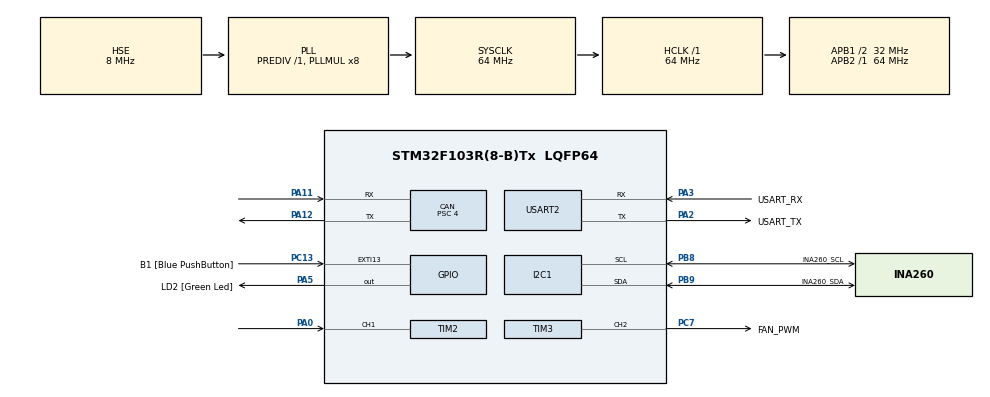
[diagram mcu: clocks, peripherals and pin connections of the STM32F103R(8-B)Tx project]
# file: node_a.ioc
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CAN.BS1=CAN_BS1_13TQ
CAN.BS2=CAN_BS2_2TQ
CAN.AutoBusOff=ENABLE
CAN.AutoRetransmission=ENABLE
CAN.CalculateBaudRate=500000
CAN.CalculateTimeBit=2000
CAN.CalculateTimeQuantum=125.0
CAN.Prescaler=4
FREERTOS.Queues01=qA_CanRx,4,AppCanRxFrame_t,0,Dynamic,NULL,NULL;mbA_CommandState,1,ACommandState_t,0,Dynamic,NULL,NULL;mbA_StatusSnapshot,1,AStatusSnapshot_t,0,Dynamic,NULL,NULL
FREERTOS.Tasks01=A_ControlTask,40,512,StartAControlTask,Default,NULL,Dynamic,NULL,NULL;A_ComRxTask,32,256,StartAComRxTask,Default,NULL,Dynamic,NULL,NULL;A_Cyclic100msTask,8,256,StartACyclic100msTask,Default,NULL,Dynamic,NULL,NULL
FREERTOS.configCHECK_FOR_STACK_OVERFLOW=2
FREERTOS.configMAX_TASK_NAME_LEN=32
FREERTOS.configTOTAL_HEAP_SIZE=8192
FREERTOS.configUSE_MALLOC_FAILED_HOOK=1
Mcu.Family=STM32F1
Mcu.Name=STM32F103R(8-B)Tx
Mcu.Package=LQFP64
NVIC.EXTI15_10_IRQn=true\:7\:0\:true\:false\:true\:true\:true\:true\:true
NVIC.PriorityGroup=NVIC_PRIORITYGROUP_4
NVIC.TIM2_IRQn=true\:6\:0\:true\:false\:true\:true\:true\:true\:true
NVIC.TIM4_IRQn=true\:15\:0\:false\:false\:true\:false\:false\:true\:true
NVIC.TimeBase=TIM4_IRQn
NVIC.TimeBaseIP=TIM4
NVIC.USB_LP_CAN1_RX0_IRQn=true\:5\:0\:true\:false\:true\:true\:true\:true\:true
PA0-WKUP.Signal=S_TIM2_CH1_ETR
PA11.Mode=CAN_Activate
PA11.Signal=CAN_RX
PA12.Mode=CAN_Activate
PA12.Signal=CAN_TX
PA13.GPIO_Label=TMS
PA13.Mode=Serial_Wire
PA13.Signal=SYS_JTMS-SWDIO
PA14.GPIO_Label=TCK
PA14.Mode=Serial_Wire
PA14.Signal=SYS_JTCK-SWCLK
PA2.GPIO_Label=USART_TX
PA2.GPIO_Mode=GPIO_MODE_AF_PP
PA2.GPIO_PuPd=GPIO_NOPULL
PA2.GPIO_Speed=GPIO_SPEED_FREQ_LOW
PA2.Mode=Asynchronous
PA2.Signal=USART2_TX
PA3.GPIO_Label=USART_RX
PA3.GPIO_Mode=GPIO_MODE_INPUT
PA3.GPIO_PuPd=GPIO_NOPULL
PA3.GPIO_Speed=GPIO_SPEED_FREQ_LOW
PA3.Mode=Asynchronous
PA3.Signal=USART2_RX
PA5.GPIO_Label=LD2 [Green Led]
PA5.GPIO_ModeDefaultOutputPP=GPIO_MODE_OUTPUT_PP
PA5.GPIO_PuPd=GPIO_NOPULL
PA5.GPIO_Speed=GPIO_SPEED_FREQ_LOW
PA5.Signal=GPIO_Output
PB3.GPIO_Label=SWO
PB3.Signal=SYS_JTDO-TRACESWO
PB8.GPIO_Label=INA260_SCL
PB8.Mode=I2C
PB8.Signal=I2C1_SCL
PB9.GPIO_Label=INA260_SDA
PB9.Mode=I2C
PB9.Signal=I2C1_SDA
PC13-TAMPER-RTC.GPIO_Label=B1 [Blue PushButton]
PC13-TAMPER-RTC.GPIO_ModeDefaultEXTI=GPIO_MODE_IT_FALLING
PC13-TAMPER-RTC.GPIO_PuPd=GPIO_NOPULL
PC13-TAMPER-RTC.Signal=GPXTI13
PC14-OSC32_IN.Signal=RCC_OSC32_IN
PC15-OSC32_OUT.Signal=RCC_OSC32_OUT
PC7.GPIO_Label=FAN_PWM
PC7.GPIO_ModeDefaultPP=GPIO_MODE_AF_OD
PC7.Signal=S_TIM3_CH2
PD0-OSC_IN.Mode=HSE-External-Clock-Source
PD0-OSC_IN.Signal=RCC_OSC_IN
PD1-OSC_OUT.Signal=RCC_OSC_OUT
ProjectManager.HeapSize=0x200
ProjectManager.StackSize=0x400
ProjectManager.TargetToolchain=STM32CubeIDE
RCC.AHBFreq_Value=64000000
RCC.APB1CLKDivider=RCC_HCLK_DIV2
RCC.APB1Freq_Value=32000000
RCC.APB1TimFreq_Value=64000000
RCC.APB2Freq_Value=64000000
RCC.APB2TimFreq_Value=64000000
RCC.HCLKFreq_Value=64000000
RCC.HSE_VALUE=8000000
RCC.PLLMUL=RCC_PLL_MUL8
RCC.PLLSourceVirtual=RCC_PLLSOURCE_HSE
RCC.SYSCLKFreq_VALUE=64000000
RCC.SYSCLKSource=RCC_SYSCLKSOURCE_PLLCLK
RCC.USBFreq_Value=64000000
SH.S_TIM2_CH1_ETR.0=TIM2_CH1,Input_Capture1_from_TI1
SH.S_TIM3_CH2.0=TIM3_CH2,PWM Generation2 CH2
TIM2.Channel-Input_Capture1_from_TI1=TIM_CHANNEL_1
TIM2.ICPolarity_CH1=TIM_INPUTCHANNELPOLARITY_FALLING
TIM2.ClockDivision=TIM_CLOCKDIVISION_DIV4
TIM2.Prescaler=639
TIM3.Channel-PWM\ Generation2\ CH2=TIM_CHANNEL_2
TIM3.Period=2559
USART2.VirtualMode=VM_ASYNC
VP_FREERTOS_VS_CMSIS_V2.Mode=CMSIS_V2
VP_SYS_VS_tim4.Mode=TIM4
VP_TIM2_VS_ClockSourceINT.Mode=Internal
VP_TIM3_VS_ClockSourceINT.Mode=Internal
board=NUCLEO-F103RB

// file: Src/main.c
/* USER CODE BEGIN Header */
/**
  ******************************************************************************
  * @file           : main.c
  * @brief          : Main program body
  ******************************************************************************
  * @attention
  *
  * Copyright (c) 2026 STMicroelectronics.
  * All rights reserved.
  *
  * This software is licensed under terms that can be found in the LICENSE file
  * in the root directory of this software component.
  * If no LICENSE file comes with this software, it is provided AS-IS.
  *
  ******************************************************************************
  */
/* USER CODE END Header */
#include "main.h"
#include "cmsis_os.h"
#include "can.h"
#include "i2c.h"
#include "tim.h"
#include "usart.h"
#include "gpio.h"

void SystemClock_Config(void);
void MX_FREERTOS_Init(void);

int main(void)
{

  /* MCU Configuration--------------------------------------------------------*/

  /* Reset of all peripherals, Initializes the Flash interface and the Systick. */
  HAL_Init();

  /* Configure the system clock */
  SystemClock_Config();

  /* Initialize all configured peripherals */
  MX_GPIO_Init();
  MX_CAN_Init();
  MX_I2C1_Init();
  MX_TIM2_Init();
  MX_TIM3_Init();
  MX_USART2_UART_Init();
  /* USER CODE BEGIN 2 */

  __HAL_TIM_SET_COMPARE(&htim3,
                        TIM_CHANNEL_2,
                        H3_FAN_PWM_COMPARE_50_PERCENT);
  if (HAL_TIM_PWM_Start(&htim3, TIM_CHANNEL_2) != HAL_OK)
  {
    Error_Handler();
  }
  if (HAL_TIM_IC_Start_IT(&htim2, TIM_CHANNEL_1) != HAL_OK)
  {
    Error_Handler();
  }

  /* USER CODE END 2 */

  /* Init scheduler */
  osKernelInitialize();  /* Call init function for freertos objects (in cmsis_os2.c) */
  MX_FREERTOS_Init();

  /* Start scheduler */
  osKernelStart();

  /* We should never get here as control is now taken by the scheduler */

  /* Infinite loop */
  while (1)
  {

  }
}

void SystemClock_Config(void)
{
  RCC_OscInitTypeDef RCC_OscInitStruct = {0};
  RCC_ClkInitTypeDef RCC_ClkInitStruct = {0};

  /** Initializes the RCC Oscillators according to the specified parameters
  * in the RCC_OscInitTypeDef structure.
  */
  RCC_OscInitStruct.OscillatorType = RCC_OSCILLATORTYPE_HSE;
  RCC_OscInitStruct.HSEState = RCC_HSE_BYPASS;
  RCC_OscInitStruct.HSEPredivValue = RCC_HSE_PREDIV_DIV1;
  RCC_OscInitStruct.PLL.PLLState = RCC_PLL_ON;
  RCC_OscInitStruct.PLL.PLLSource = RCC_PLLSOURCE_HSE;
  RCC_OscInitStruct.PLL.PLLMUL = RCC_PLL_MUL8;
  if (HAL_RCC_OscConfig(&RCC_OscInitStruct) != HAL_OK)
  {
    Error_Handler();
  }

  /** Initializes the CPU, AHB and APB buses clocks
  */
  RCC_ClkInitStruct.ClockType = RCC_CLOCKTYPE_HCLK|RCC_CLOCKTYPE_SYSCLK
                              |RCC_CLOCKTYPE_PCLK1|RCC_CLOCKTYPE_PCLK2;
  RCC_ClkInitStruct.SYSCLKSource = RCC_SYSCLKSOURCE_PLLCLK;
  RCC_ClkInitStruct.AHBCLKDivider = RCC_SYSCLK_DIV1;
  RCC_ClkInitStruct.APB1CLKDivider = RCC_HCLK_DIV2;
  RCC_ClkInitStruct.APB2CLKDivider = RCC_HCLK_DIV1;

  if (HAL_RCC_ClockConfig(&RCC_ClkInitStruct, FLASH_LATENCY_2) != HAL_OK)
  {
    Error_Handler();
  }
}

void HAL_TIM_PeriodElapsedCallback(TIM_HandleTypeDef *htim)
{
  if (htim->Instance == TIM4)
  {
    HAL_IncTick();
  }
}

void Error_Handler(void)
{
  __disable_irq();
  while (1)
  {
  }
}

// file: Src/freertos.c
/* USER CODE BEGIN Header */
/**
  ******************************************************************************
  * File Name          : freertos.c
  * Description        : Code for freertos applications
  ******************************************************************************
  * @attention
  *
  * Copyright (c) 2026 STMicroelectronics.
  * All rights reserved.
  *
  * This software is licensed under terms that can be found in the LICENSE file
  * in the root directory of this software component.
  * If no LICENSE file comes with this software, it is provided AS-IS.
  *
  ******************************************************************************
  */
/* USER CODE END Header */

#include "FreeRTOS.h"
#include "task.h"
#include "main.h"
#include "cmsis_os.h"

/* USER CODE BEGIN Includes */
#include "app_ipc.h"
#include "can.h"
#include "i2c.h"
#include "tim.h"
#include "usart.h"

#include <stdio.h>
#include <string.h>

/* USER CODE END Includes */

/* USER CODE BEGIN PTD */

typedef struct
{
  uint8_t duty_percent;
  uint16_t compare;
} H3_FanPwmStep_t;

typedef struct
{
  uint32_t edge_total;
  uint32_t sample_total;
  uint32_t zero_delta_total;
  uint32_t window_samples;
  uint32_t last_edge_tick_ms;
  uint16_t last_period_ticks;
  uint16_t window_min_ticks;
  uint16_t window_max_ticks;
  uint8_t capture_seen;
} H3_TachSnapshot_t;

/* USER CODE END PTD */

/* USER CODE BEGIN PD */

#define H2_CAN_BITRATE_BPS       500000U
#define H2_CAN_TX_STD_ID         0x180U
#define H2_CAN_RX_STD_ID         0x100U
#define H2_CAN_PERIOD_MS         100U
#define H2_CAN_STARTUP_DELAY_MS  10000U
#define H2_CAN_TX_DLC            5U
#define H2_CAN_RX_DLC            2U
#define H2_CAN_RX_COUNTER_INDEX  1U

#define H3_INA260_I2C_ADDRESS           0x40U
#define H3_INA260_SCAN_FIRST_ADDRESS    0x08U
#define H3_INA260_SCAN_LAST_ADDRESS     0x77U
#define H3_INA260_REG_CONFIG            0x00U
#define H3_INA260_REG_CURRENT           0x01U
#define H3_INA260_REG_BUS_VOLTAGE       0x02U
#define H3_INA260_REG_POWER             0x03U
#define H3_INA260_REG_MANUFACTURER_ID   0xFEU
#define H3_INA260_REG_DIE_ID            0xFFU
#define H3_INA260_EXPECTED_MFG_ID       0x5449U
#define H3_INA260_EXPECTED_DIE_ID       0x2270U
#define H3_INA260_DIE_ID_MASK           0xFFF0U
#define H3_INA260_CURRENT_LSB_UA        1250L
#define H3_INA260_BUS_VOLTAGE_LSB_UV    1250UL
#define H3_INA260_POWER_LSB_UW          10000UL
#define H3_INA260_I2C_TIMEOUT_MS        20U

/* USER CODE END PD */

/* USER CODE BEGIN Variables */

static volatile uint8_t g_h2_can_ready;
static volatile uint8_t g_h2_can_start_result;
static volatile uint32_t g_h2_tx_attempts;
static volatile uint32_t g_h2_tx_queued;
static volatile uint32_t g_h2_tx_failures;
static volatile uint32_t g_h2_rx_irq_count;
static volatile uint32_t g_h2_rx_queue_drops;
static volatile uint32_t g_h2_rx_valid;
static volatile uint32_t g_h2_rx_invalid;
static volatile uint32_t g_h2_rx_sequence_errors;
static volatile uint8_t g_h2_rx_seen;
static volatile uint8_t g_h2_last_rx_counter;
static volatile uint8_t g_h3_fan_profile_request;
static volatile uint32_t g_h3_tach_edge_count;
static volatile uint32_t g_h3_tach_period_sample_count;
static volatile uint32_t g_h3_tach_zero_delta_count;
static volatile uint32_t g_h3_tach_window_sample_count;
static volatile uint32_t g_h3_tach_last_edge_tick_ms;
static volatile uint16_t g_h3_tach_last_capture;
static volatile uint16_t g_h3_tach_last_period_ticks;
static volatile uint16_t g_h3_tach_window_min_ticks = UINT16_MAX;
static volatile uint16_t g_h3_tach_window_max_ticks;
static volatile uint8_t g_h3_tach_capture_seen;
static uint32_t g_h3_ina260_sample_count;
static uint8_t g_h3_ina260_identity_valid;

static const H3_FanPwmStep_t g_h3_fan_pwm_profile[] =
{
  {100U, H3_FAN_PWM_COMPARE_100_PERCENT},
  { 50U, H3_FAN_PWM_COMPARE_50_PERCENT},
  { 25U, H3_FAN_PWM_COMPARE_25_PERCENT},
  {  0U, H3_FAN_PWM_COMPARE_0_PERCENT},
  {100U, H3_FAN_PWM_COMPARE_100_PERCENT}
};

/* USER CODE END Variables */
/* Definitions for A_ControlTask */
osThreadId_t A_ControlTaskHandle;
const osThreadAttr_t A_ControlTask_attributes = {
  .name = "A_ControlTask",
  .stack_size = 512 * 4,
  .priority = (osPriority_t) osPriorityHigh,
};
/* Definitions for A_ComRxTask */
osThreadId_t A_ComRxTaskHandle;
const osThreadAttr_t A_ComRxTask_attributes = {
  .name = "A_ComRxTask",
  .stack_size = 256 * 4,
  .priority = (osPriority_t) osPriorityAboveNormal,
};
/* Definitions for A_Cyclic100msTask */
osThreadId_t A_Cyclic100msTaskHandle;
const osThreadAttr_t A_Cyclic100msTask_attributes = {
  .name = "A_Cyclic100msTask",
  .stack_size = 256 * 4,
  .priority = (osPriority_t) osPriorityLow,
};
/* Definitions for qA_CanRx */
osMessageQueueId_t qA_CanRxHandle;
const osMessageQueueAttr_t qA_CanRx_attributes = {
  .name = "qA_CanRx"
};
/* Definitions for mbA_CommandState */
osMessageQueueId_t mbA_CommandStateHandle;
const osMessageQueueAttr_t mbA_CommandState_attributes = {
  .name = "mbA_CommandState"
};
/* Definitions for mbA_StatusSnapshot */
osMessageQueueId_t mbA_StatusSnapshotHandle;
const osMessageQueueAttr_t mbA_StatusSnapshot_attributes = {
  .name = "mbA_StatusSnapshot"
};

/* USER CODE BEGIN FunctionPrototypes */

static uint8_t H2_CanStart(void);
static void H2_UartWrite(const char *text);
static void H2_LogBoot(uint8_t start_result);
static void H2_LogStatus(void);
static void H3_LogFanPwmProfile(void);
static void H3_ApplyFanPwmStep(uint8_t profile_index);
static void H3_LogFanPwmProfileDone(void);
static void H3_LogTachCaptureProfile(void);
static void H3_LogTachRaw(void);
static HAL_StatusTypeDef H3_Ina260ReadRegister(uint8_t register_address,
                                               uint16_t *value);
static void H3_LogIna260MasterState(const char *phase,
                                    HAL_StatusTypeDef reinit_status);
static void H3_Ina260ScanAndIdentify(void);
static void H3_Ina260ScopeProbe(void);
static void H3_LogIna260Sample(void);
static void H2_SendFrame(uint8_t counter);
static uint8_t H2_IsValidPeerFrame(const AppCanRxFrame_t *frame);
static uint8_t H2_GetPeerCounter(const AppCanRxFrame_t *frame);

/* USER CODE END FunctionPrototypes */

void StartAControlTask(void *argument);
void StartAComRxTask(void *argument);
void StartACyclic100msTask(void *argument);

void MX_FREERTOS_Init(void); /* (MISRA C 2004 rule 8.1) */

/* Hook prototypes */
void vApplicationStackOverflowHook(xTaskHandle xTask, signed char *pcTaskName);
void vApplicationMallocFailedHook(void);

/* USER CODE BEGIN 4 */
static uint8_t H2_CanStart(void)
{
  CAN_FilterTypeDef filter = {0};

  filter.FilterBank = 0;
  filter.FilterMode = CAN_FILTERMODE_IDMASK;
  filter.FilterScale = CAN_FILTERSCALE_32BIT;
  filter.FilterIdHigh = 0;
  filter.FilterIdLow = 0;
  filter.FilterMaskIdHigh = 0;
  filter.FilterMaskIdLow = 0;
  filter.FilterFIFOAssignment = CAN_RX_FIFO0;
  filter.FilterActivation = ENABLE;
  filter.SlaveStartFilterBank = 14;

  if (HAL_CAN_ConfigFilter(&hcan, &filter) != HAL_OK)
  {
    return 1U;
  }
  if (HAL_CAN_Start(&hcan) != HAL_OK)
  {
    return 2U;
  }
  if (HAL_CAN_ActivateNotification(&hcan,
                                   CAN_IT_RX_FIFO0_MSG_PENDING |
                                   CAN_IT_RX_FIFO0_OVERRUN) != HAL_OK)
  {
    return 3U;
  }

  return 0U;
}

static void H2_UartWrite(const char *text)
{
  size_t length;

  if (text == NULL)
  {
    return;
  }

  length = strlen(text);
  if (length > UINT16_MAX)
  {
    length = UINT16_MAX;
  }
  (void)HAL_UART_Transmit(&huart2, (uint8_t *)text, (uint16_t)length, 100U);
}

static void H2_LogBoot(uint8_t start_result)
{
  char line[192];
  int length;

  if (start_result == 0U)
  {
    length = snprintf(line, sizeof(line),
                      "H2,A,BOOT,profile=formal_baseline,bitrate=%lu,tx_id=0x%03lX,tx_dlc=%u,rx_id=0x%03lX,rx_dlc=%u,period_ms=%lu,start_delay_ms=%lu\r\n",
                      (unsigned long)H2_CAN_BITRATE_BPS,
                      (unsigned long)H2_CAN_TX_STD_ID,
                      (unsigned int)H2_CAN_TX_DLC,
                      (unsigned long)H2_CAN_RX_STD_ID,
                      (unsigned int)H2_CAN_RX_DLC,
                      (unsigned long)H2_CAN_PERIOD_MS,
                      (unsigned long)H2_CAN_STARTUP_DELAY_MS);
  }
  else
  {
    length = snprintf(line, sizeof(line),
                      "H2,A,BOOT_FAIL,start_result=%u,hal_error=0x%08lX\r\n",
                      (unsigned int)start_result,
                      (unsigned long)HAL_CAN_GetError(&hcan));
  }

  if (length > 0)
  {
    line[sizeof(line) - 1U] = '\0';
    H2_UartWrite(line);
  }
}

static void H2_LogStatus(void)
{
  char line[256];
  int length;

  length = snprintf(line, sizeof(line),
                    "H2,A,STAT,tick=%lu,tx_try=%lu,tx_q=%lu,tx_fail=%lu,rx_irq=%lu,rx=%lu,rx_bad=%lu,seq_err=%lu,q_drop=%lu,seen=%u,last=%u,mb_free=%lu,hal_err=0x%08lX,esr=0x%08lX\r\n",
                    (unsigned long)HAL_GetTick(),
                    (unsigned long)g_h2_tx_attempts,
                    (unsigned long)g_h2_tx_queued,
                    (unsigned long)g_h2_tx_failures,
                    (unsigned long)g_h2_rx_irq_count,
                    (unsigned long)g_h2_rx_valid,
                    (unsigned long)g_h2_rx_invalid,
                    (unsigned long)g_h2_rx_sequence_errors,
                    (unsigned long)g_h2_rx_queue_drops,
                    (unsigned int)g_h2_rx_seen,
                    (unsigned int)g_h2_last_rx_counter,
                    (unsigned long)HAL_CAN_GetTxMailboxesFreeLevel(&hcan),
                    (unsigned long)HAL_CAN_GetError(&hcan),
                    (unsigned long)hcan.Instance->ESR);

  if (length > 0)
  {
    line[sizeof(line) - 1U] = '\0';
    H2_UartWrite(line);
  }
}

static void H3_LogFanPwmProfile(void)
{
  char line[224];
  int length;

  length = snprintf(line, sizeof(line),
                    "H3,A,FAN_PWM_PROFILE,pin=PC7,timer=TIM3_CH2,freq_hz=%lu,idle_pct=%u,sequence=100-50-25-0-100,hold_ms=%lu,trigger=B1,mode=af_od\r\n",
                    (unsigned long)H3_FAN_PWM_FREQUENCY_HZ,
                    (unsigned int)H3_FAN_PWM_IDLE_DUTY_PERCENT,
                    (unsigned long)H3_FAN_PWM_PROFILE_HOLD_MS);

  if (length > 0)
  {
    line[sizeof(line) - 1U] = '\0';
    H2_UartWrite(line);
  }
}

static void H3_ApplyFanPwmStep(uint8_t profile_index)
{
  char line[160];
  int length;
  const uint8_t profile_step_count =
      (uint8_t)(sizeof(g_h3_fan_pwm_profile) / sizeof(g_h3_fan_pwm_profile[0]));

  if (profile_index >= profile_step_count)
  {
    return;
  }

  __HAL_TIM_SET_COMPARE(&htim3,
                        TIM_CHANNEL_2,
                        g_h3_fan_pwm_profile[profile_index].compare);
  length = snprintf(line, sizeof(line),
                    "H3,A,FAN_PWM_STEP,index=%u,total=%u,duty_pct=%u,compare=%u,hold_ms=%lu\r\n",
                    (unsigned int)(profile_index + 1U),
                    (unsigned int)profile_step_count,
                    (unsigned int)g_h3_fan_pwm_profile[profile_index].duty_percent,
                    (unsigned int)g_h3_fan_pwm_profile[profile_index].compare,
                    (unsigned long)H3_FAN_PWM_PROFILE_HOLD_MS);

  if (length > 0)
  {
    line[sizeof(line) - 1U] = '\0';
    H2_UartWrite(line);
  }
}

static void H3_LogFanPwmProfileDone(void)
{
  char line[96];
  int length;

  length = snprintf(line, sizeof(line),
                    "H3,A,FAN_PWM_PROFILE_DONE,final_pct=%u\r\n",
                    (unsigned int)H3_FAN_PWM_IDLE_DUTY_PERCENT);
  if (length > 0)
  {
    line[sizeof(line) - 1U] = '\0';
    H2_UartWrite(line);
  }
}

static void H3_LogTachCaptureProfile(void)
{
  char line[256];
  int length;

  length = snprintf(line, sizeof(line),
                    "H3,A,TACH_CAPTURE_PROFILE,pin=PA0,timer=TIM2_CH1,edge=falling,timer_hz=%lu,tick_us=%lu,ic_filter=%u,ckd_div=%u,rc=10k_series_10nF_gnd,ppr=%u,rpm=enabled,stale_ms=%lu\r\n",
                    (unsigned long)H3_TACH_TIMER_FREQUENCY_HZ,
                    (unsigned long)H3_TACH_TIMER_TICK_US,
                    (unsigned int)H3_TACH_INPUT_FILTER,
                    (unsigned int)H3_TACH_CLOCK_DIVISION_VALUE,
                    (unsigned int)H3_TACH_PULSES_PER_REVOLUTION,
                    (unsigned long)H3_TACH_STALE_TIMEOUT_MS);

  if (length > 0)
  {
    line[sizeof(line) - 1U] = '\0';
    H2_UartWrite(line);
  }
}

static void H3_LogTachRaw(void)
{
  H3_TachSnapshot_t snapshot;
  uint32_t now;
  uint32_t age_ms;
  uint32_t period_us;
  uint32_t frequency_millihz;
  uint32_t rpm;
  uint32_t rpm_denominator;
  uint32_t rpm_numerator;
  uint8_t rpm_valid;
  const char *state;
  char rpm_text[16];
  char line[352];
  int length;

  taskENTER_CRITICAL();
  snapshot.edge_total = g_h3_tach_edge_count;
  snapshot.sample_total = g_h3_tach_period_sample_count;
  snapshot.zero_delta_total = g_h3_tach_zero_delta_count;
  snapshot.window_samples = g_h3_tach_window_sample_count;
  snapshot.last_edge_tick_ms = g_h3_tach_last_edge_tick_ms;
  snapshot.last_period_ticks = g_h3_tach_last_period_ticks;
  snapshot.window_min_ticks = (g_h3_tach_window_sample_count != 0U) ?
                              g_h3_tach_window_min_ticks : 0U;
  snapshot.window_max_ticks = (g_h3_tach_window_sample_count != 0U) ?
                              g_h3_tach_window_max_ticks : 0U;
  snapshot.capture_seen = g_h3_tach_capture_seen;
  g_h3_tach_window_sample_count = 0U;
  g_h3_tach_window_min_ticks = UINT16_MAX;
  g_h3_tach_window_max_ticks = 0U;
  taskEXIT_CRITICAL();

  now = HAL_GetTick();
  if (snapshot.capture_seen == 0U)
  {
    state = "WAIT_FIRST_EDGE";
    age_ms = UINT32_MAX;
  }
  else if (snapshot.sample_total == 0U)
  {
    state = "WAIT_SECOND_EDGE";
    age_ms = now - snapshot.last_edge_tick_ms;
  }
  else
  {
    age_ms = now - snapshot.last_edge_tick_ms;
    state = (age_ms > H3_TACH_STALE_TIMEOUT_MS) ?
            "STALE" : "PERIOD_VALID";
  }

  period_us = (uint32_t)snapshot.last_period_ticks * H3_TACH_TIMER_TICK_US;
  frequency_millihz = (snapshot.last_period_ticks != 0U) ?
      ((H3_TACH_TIMER_FREQUENCY_HZ * 1000U) /
       (uint32_t)snapshot.last_period_ticks) : 0U;
  rpm_valid = ((snapshot.sample_total != 0U) &&
               (snapshot.last_period_ticks != 0U) &&
               (age_ms <= H3_TACH_STALE_TIMEOUT_MS)) ? 1U : 0U;
  if (rpm_valid != 0U)
  {
    rpm_denominator = (uint32_t)H3_TACH_PULSES_PER_REVOLUTION *
                      (uint32_t)snapshot.last_period_ticks;
    rpm_numerator = H3_TACH_TIMER_FREQUENCY_HZ * 60U;
    rpm = (rpm_numerator + (rpm_denominator / 2U)) / rpm_denominator;
    (void)snprintf(rpm_text, sizeof(rpm_text), "%lu", (unsigned long)rpm);
  }
  else
  {
    (void)snprintf(rpm_text, sizeof(rpm_text), "INVALID");
  }

  length = snprintf(line, sizeof(line),
                    "H3,A,TACH_RAW,tick=%lu,state=%s,edge_total=%lu,sample_total=%lu,window_samples=%lu,last_ticks=%u,last_us=%lu,freq_mHz=%lu,window_min_ticks=%u,window_max_ticks=%u,zero_delta=%lu,age_ms=%lu,ppr=%u,rpm=%s,rpm_valid=%u\r\n",
                    (unsigned long)now,
                    state,
                    (unsigned long)snapshot.edge_total,
                    (unsigned long)snapshot.sample_total,
                    (unsigned long)snapshot.window_samples,
                    (unsigned int)snapshot.last_period_ticks,
                    (unsigned long)period_us,
                    (unsigned long)frequency_millihz,
                    (unsigned int)snapshot.window_min_ticks,
                    (unsigned int)snapshot.window_max_ticks,
                    (unsigned long)snapshot.zero_delta_total,
                    (unsigned long)age_ms,
                    (unsigned int)H3_TACH_PULSES_PER_REVOLUTION,
                    rpm_text,
                    (unsigned int)rpm_valid);

  if (length > 0)
  {
    line[sizeof(line) - 1U] = '\0';
    H2_UartWrite(line);
  }
}

static HAL_StatusTypeDef H3_Ina260ReadRegister(uint8_t register_address,
                                               uint16_t *value)
{
  uint8_t data[2] = {0U, 0U};
  HAL_StatusTypeDef status;

  if (value == NULL)
  {
    return HAL_ERROR;
  }

  status = HAL_I2C_Mem_Read(&hi2c1,
                            (uint16_t)(H3_INA260_I2C_ADDRESS << 1U),
                            register_address,
                            I2C_MEMADD_SIZE_8BIT,
                            data,
                            sizeof(data),
                            H3_INA260_I2C_TIMEOUT_MS);
  if (status == HAL_OK)
  {
    *value = (uint16_t)(((uint16_t)data[0] << 8U) | (uint16_t)data[1]);
  }

  return status;
}

static void H3_LogIna260MasterState(const char *phase,
                                    HAL_StatusTypeDef reinit_status)
{
  char line[224];
  int length;

  length = snprintf(line, sizeof(line),
                    "H3,A,INA260_MASTER,phase=%s,reinit_status=%u,state=0x%02lX,hal_err=0x%08lX,cr1=0x%04lX,sr1=0x%04lX,sr2=0x%04lX,gpiob_idr=0x%04lX\r\n",
                    phase,
                    (unsigned int)reinit_status,
                    (unsigned long)HAL_I2C_GetState(&hi2c1),
                    (unsigned long)HAL_I2C_GetError(&hi2c1),
                    (unsigned long)I2C1->CR1,
                    (unsigned long)I2C1->SR1,
                    (unsigned long)I2C1->SR2,
                    (unsigned long)(GPIOB->IDR &
                                    (INA260_SCL_Pin | INA260_SDA_Pin)));
  if (length > 0)
  {
    line[sizeof(line) - 1U] = '\0';
    H2_UartWrite(line);
  }
}

static void H3_Ina260ScanAndIdentify(void)
{
  uint8_t address;
  uint8_t ack_count = 0U;
  uint8_t expected_ack = 0U;
  uint16_t configuration = 0U;
  uint16_t manufacturer_id = 0U;
  uint16_t die_id = 0U;
  HAL_StatusTypeDef expected_probe_status;
  HAL_StatusTypeDef configuration_status = HAL_ERROR;
  HAL_StatusTypeDef manufacturer_status = HAL_ERROR;
  HAL_StatusTypeDef die_status = HAL_ERROR;
  HAL_StatusTypeDef reinit_status = HAL_OK;
  uint32_t expected_probe_error;
  char line[224];
  int length;

  H2_UartWrite("H3,A,INA260_PROFILE,bus=I2C1,scl=PB8_D15,sda=PB9_D14,clock_hz=100000,expected_addr=0x40,mode=read_only,alert=disconnected\r\n");

  H3_LogIna260MasterState("pre_probe", reinit_status);
  if (((I2C1->SR2 & I2C_SR2_BUSY) != 0U) ||
      (HAL_I2C_GetError(&hi2c1) != HAL_I2C_ERROR_NONE))
  {
    reinit_status = HAL_I2C_Init(&hi2c1);
    osDelay(5U);
    H3_LogIna260MasterState("after_pre_probe_reinit", reinit_status);
  }

  expected_probe_status = HAL_I2C_IsDeviceReady(
      &hi2c1,
      (uint16_t)(H3_INA260_I2C_ADDRESS << 1U),
      2U,
      H3_INA260_I2C_TIMEOUT_MS);
  expected_probe_error = HAL_I2C_GetError(&hi2c1);
  length = snprintf(line, sizeof(line),
                    "H3,A,INA260_EXPECTED_PROBE,attempt=1,address=0x%02X,status=%u,hal_err=0x%08lX\r\n",
                    (unsigned int)H3_INA260_I2C_ADDRESS,
                    (unsigned int)expected_probe_status,
                    (unsigned long)expected_probe_error);
  if (length > 0)
  {
    line[sizeof(line) - 1U] = '\0';
    H2_UartWrite(line);
  }

  if ((expected_probe_status != HAL_OK) &&
      (expected_probe_error != HAL_I2C_ERROR_AF))
  {
    reinit_status = HAL_I2C_Init(&hi2c1);
    osDelay(5U);
    H3_LogIna260MasterState("after_probe_retry_reinit", reinit_status);
    expected_probe_status = HAL_I2C_IsDeviceReady(
        &hi2c1,
        (uint16_t)(H3_INA260_I2C_ADDRESS << 1U),
        2U,
        H3_INA260_I2C_TIMEOUT_MS);
    expected_probe_error = HAL_I2C_GetError(&hi2c1);
    length = snprintf(line, sizeof(line),
                      "H3,A,INA260_EXPECTED_PROBE,attempt=2,address=0x%02X,status=%u,hal_err=0x%08lX\r\n",
                      (unsigned int)H3_INA260_I2C_ADDRESS,
                      (unsigned int)expected_probe_status,
                      (unsigned long)expected_probe_error);
    if (length > 0)
    {
      line[sizeof(line) - 1U] = '\0';
      H2_UartWrite(line);
    }
  }

  if (expected_probe_status == HAL_OK)
  {
    expected_ack = 1U;
    ack_count = 1U;
    H2_UartWrite("H3,A,INA260_I2C_ACK,address=0x40\r\n");
  }

  if (expected_ack != 0U)
  {
    configuration_status = H3_Ina260ReadRegister(H3_INA260_REG_CONFIG,
                                                  &configuration);
    manufacturer_status = H3_Ina260ReadRegister(
        H3_INA260_REG_MANUFACTURER_ID,
        &manufacturer_id);
    die_status = H3_Ina260ReadRegister(H3_INA260_REG_DIE_ID, &die_id);
  }

  for (address = H3_INA260_SCAN_FIRST_ADDRESS;
       address <= H3_INA260_SCAN_LAST_ADDRESS;
       ++address)
  {
    if (address == H3_INA260_I2C_ADDRESS)
    {
      continue;
    }

    if (HAL_I2C_IsDeviceReady(&hi2c1,
                              (uint16_t)(address << 1U),
                              2U,
                              H3_INA260_I2C_TIMEOUT_MS) == HAL_OK)
    {
      ack_count++;
      length = snprintf(line, sizeof(line),
                        "H3,A,INA260_I2C_ACK,address=0x%02X\r\n",
                        (unsigned int)address);
      if (length > 0)
      {
        line[sizeof(line) - 1U] = '\0';
        H2_UartWrite(line);
      }
    }
  }

  g_h3_ina260_identity_valid =
      ((expected_ack != 0U) &&
       (configuration_status == HAL_OK) &&
       (manufacturer_status == HAL_OK) &&
       (die_status == HAL_OK) &&
       (manufacturer_id == H3_INA260_EXPECTED_MFG_ID) &&
       ((die_id & H3_INA260_DIE_ID_MASK) == H3_INA260_EXPECTED_DIE_ID)) ?
      1U : 0U;

  length = snprintf(line, sizeof(line),
                    "H3,A,INA260_IDENTITY,ack_count=%u,expected_ack=%u,addr=0x%02X,config_status=%u,config=0x%04X,mfg_status=%u,mfg=0x%04X,die_status=%u,die=0x%04X,valid=%u,hal_err=0x%08lX\r\n",
                    (unsigned int)ack_count,
                    (unsigned int)expected_ack,
                    (unsigned int)H3_INA260_I2C_ADDRESS,
                    (unsigned int)configuration_status,
                    (unsigned int)configuration,
                    (unsigned int)manufacturer_status,
                    (unsigned int)manufacturer_id,
                    (unsigned int)die_status,
                    (unsigned int)die_id,
                    (unsigned int)g_h3_ina260_identity_valid,
                    (unsigned long)HAL_I2C_GetError(&hi2c1));
  if (length > 0)
  {
    line[sizeof(line) - 1U] = '\0';
    H2_UartWrite(line);
  }
}

static void H3_Ina260ScopeProbe(void)
{
  HAL_StatusTypeDef status;
  uint32_t error;
  char line[144];
  int length;

  /* Deliberately emit no UART traffic before this single address cycle. */
  status = HAL_I2C_IsDeviceReady(
      &hi2c1,
      (uint16_t)(H3_INA260_I2C_ADDRESS << 1U),
      1U,
      H3_INA260_I2C_TIMEOUT_MS);
  error = HAL_I2C_GetError(&hi2c1);

  length = snprintf(line, sizeof(line),
                    "H3,A,INA260_SCOPE_PROBE,address=0x%02X,status=%u,hal_err=0x%08lX\r\n",
                    (unsigned int)H3_INA260_I2C_ADDRESS,
                    (unsigned int)status,
                    (unsigned long)error);
  if (length > 0)
  {
    line[sizeof(line) - 1U] = '\0';
    H2_UartWrite(line);
  }
}

static void H3_LogIna260Sample(void)
{
  uint16_t current_register = 0U;
  uint16_t bus_voltage_register = 0U;
  uint16_t power_register = 0U;
  HAL_StatusTypeDef current_status;
  HAL_StatusTypeDef bus_voltage_status;
  HAL_StatusTypeDef power_status;
  int32_t current_ua;
  uint32_t bus_voltage_uv;
  uint32_t power_uw;
  char line[256];
  int length;

  if (g_h3_ina260_identity_valid == 0U)
  {
    return;
  }

  current_status = H3_Ina260ReadRegister(H3_INA260_REG_CURRENT,
                                          &current_register);
  bus_voltage_status = H3_Ina260ReadRegister(H3_INA260_REG_BUS_VOLTAGE,
                                              &bus_voltage_register);
  power_status = H3_Ina260ReadRegister(H3_INA260_REG_POWER, &power_register);
  g_h3_ina260_sample_count++;

  if ((current_status == HAL_OK) &&
      (bus_voltage_status == HAL_OK) &&
      (power_status == HAL_OK))
  {
    current_ua = (int32_t)((int16_t)current_register) *
                 H3_INA260_CURRENT_LSB_UA;
    bus_voltage_uv = (uint32_t)bus_voltage_register *
                     H3_INA260_BUS_VOLTAGE_LSB_UV;
    power_uw = (uint32_t)power_register * H3_INA260_POWER_LSB_UW;
    length = snprintf(line, sizeof(line),
                      "H3,A,INA260_SAMPLE,tick=%lu,index=%lu,state=VALID,current_raw=%d,current_uA=%ld,bus_raw=%u,bus_uV=%lu,power_raw=%u,power_uW=%lu\r\n",
                      (unsigned long)HAL_GetTick(),
                      (unsigned long)g_h3_ina260_sample_count,
                      (int)((int16_t)current_register),
                      (long)current_ua,
                      (unsigned int)bus_voltage_register,
                      (unsigned long)bus_voltage_uv,
                      (unsigned int)power_register,
                      (unsigned long)power_uw);
  }
  else
  {
    length = snprintf(line, sizeof(line),
                      "H3,A,INA260_SAMPLE,tick=%lu,index=%lu,state=READ_ERROR,current_status=%u,bus_status=%u,power_status=%u,hal_err=0x%08lX\r\n",
                      (unsigned long)HAL_GetTick(),
                      (unsigned long)g_h3_ina260_sample_count,
                      (unsigned int)current_status,
                      (unsigned int)bus_voltage_status,
                      (unsigned int)power_status,
                      (unsigned long)HAL_I2C_GetError(&hi2c1));
  }

  if (length > 0)
  {
    line[sizeof(line) - 1U] = '\0';
    H2_UartWrite(line);
  }
}

static void H2_SendFrame(uint8_t counter)
{
  CAN_TxHeaderTypeDef header = {0};
  uint32_t mailbox = 0U;
  uint8_t data[8] = {0};

  header.StdId = H2_CAN_TX_STD_ID;
  header.ExtId = 0U;
  header.IDE = CAN_ID_STD;
  header.RTR = CAN_RTR_DATA;
  header.DLC = H2_CAN_TX_DLC;
  header.TransmitGlobalTime = DISABLE;

  /* Keep 0x180 RPM invalid until the separate CAN integration gate. */
  data[0] = 0x00U;
  data[1] = 0x00U;
  data[2] = (uint8_t)(counter & 0x0FU);
  data[3] = 0xFFU;
  data[4] = 0xFFU;

  g_h2_tx_attempts++;
  if (HAL_CAN_AddTxMessage(&hcan, &header, data, &mailbox) == HAL_OK)
  {
    g_h2_tx_queued++;
  }
  else
  {
    g_h2_tx_failures++;
  }
}

static uint8_t H2_IsValidPeerFrame(const AppCanRxFrame_t *frame)
{
  if ((frame == NULL) ||
      (frame->std_id != H2_CAN_RX_STD_ID) ||
      (frame->dlc != H2_CAN_RX_DLC))
  {
    return 0U;
  }

  /* 0x100 Cooling_Command: demand 0..100 and reserved nibble clear. */
  if ((frame->data[0] > 100U) ||
      ((frame->data[1] & 0xF0U) != 0U))
  {
    return 0U;
  }

  return 1U;
}

static uint8_t H2_GetPeerCounter(const AppCanRxFrame_t *frame)
{
  return (uint8_t)(frame->data[H2_CAN_RX_COUNTER_INDEX] & 0x0FU);
}

void HAL_CAN_RxFifo0MsgPendingCallback(CAN_HandleTypeDef *can_handle)
{
  CAN_RxHeaderTypeDef header = {0};
  AppCanRxFrame_t frame = {0};
  uint8_t data[8] = {0};
  uint32_t index;

  if ((can_handle == NULL) || (can_handle->Instance != CAN1))
  {
    return;
  }

  g_h2_rx_irq_count++;
  if (HAL_CAN_GetRxMessage(can_handle, CAN_RX_FIFO0, &header, data) != HAL_OK)
  {
    g_h2_rx_queue_drops++;
    return;
  }

  frame.rx_tick = HAL_GetTick();
  frame.std_id = (uint16_t)header.StdId;
  frame.dlc = (uint8_t)((header.DLC <= 8U) ? header.DLC : 8U);
  for (index = 0U; index < frame.dlc; ++index)
  {
    frame.data[index] = data[index];
  }

  if ((qA_CanRxHandle == NULL) ||
      (osMessageQueuePut(qA_CanRxHandle, &frame, 0U, 0U) != osOK))
  {
    g_h2_rx_queue_drops++;
  }
}

void HAL_GPIO_EXTI_Callback(uint16_t gpio_pin)
{
  if (gpio_pin == B1_Pin)
  {
    g_h3_fan_profile_request = 1U;
  }
}

void HAL_TIM_IC_CaptureCallback(TIM_HandleTypeDef *tim_handle)
{
  uint16_t capture;
  uint16_t period_ticks;

  if ((tim_handle == NULL) ||
      (tim_handle->Instance != TIM2) ||
      (tim_handle->Channel != HAL_TIM_ACTIVE_CHANNEL_1))
  {
    return;
  }

  capture = (uint16_t)HAL_TIM_ReadCapturedValue(tim_handle, TIM_CHANNEL_1);
  g_h3_tach_edge_count++;
  g_h3_tach_last_edge_tick_ms = HAL_GetTick();

  if (g_h3_tach_capture_seen != 0U)
  {
    period_ticks = (uint16_t)(capture - g_h3_tach_last_capture);
    if (period_ticks == 0U)
    {
      g_h3_tach_zero_delta_count++;
    }
    else
    {
      g_h3_tach_last_period_ticks = period_ticks;
      g_h3_tach_period_sample_count++;
      g_h3_tach_window_sample_count++;
      if (period_ticks < g_h3_tach_window_min_ticks)
      {
        g_h3_tach_window_min_ticks = period_ticks;
      }
      if (period_ticks > g_h3_tach_window_max_ticks)
      {
        g_h3_tach_window_max_ticks = period_ticks;
      }
    }
  }
  else
  {
    g_h3_tach_capture_seen = 1U;
  }

  g_h3_tach_last_capture = capture;
}

void vApplicationStackOverflowHook(xTaskHandle xTask, signed char *pcTaskName)
{
   /* Run time stack overflow checking is performed if
   configCHECK_FOR_STACK_OVERFLOW is defined to 1 or 2. This hook function is
   called if a stack overflow is detected. */
}
/* USER CODE END 4 */

/* USER CODE BEGIN 5 */
void vApplicationMallocFailedHook(void)
{
   /* vApplicationMallocFailedHook() will only be called if
   configUSE_MALLOC_FAILED_HOOK is set to 1 in FreeRTOSConfig.h. It is a hook
   function that will get called if a call to pvPortMalloc() fails.
   pvPortMalloc() is called internally by the kernel whenever a task, queue,
   timer or semaphore is created. It is also called by various parts of the
   demo application. If heap_1.c or heap_2.c are used, then the size of the
   heap available to pvPortMalloc() is defined by configTOTAL_HEAP_SIZE in
   FreeRTOSConfig.h, and the xPortGetFreeHeapSize() API function can be used
   to query the size of free heap space that remains (although it does not
   provide information on how the remaining heap might be fragmented). */
}
/* USER CODE END 5 */

void MX_FREERTOS_Init(void) {

  /* Create the queue(s) */
  /* creation of qA_CanRx */
  qA_CanRxHandle = osMessageQueueNew (4, sizeof(AppCanRxFrame_t), &qA_CanRx_attributes);

  /* creation of mbA_CommandState */
  mbA_CommandStateHandle = osMessageQueueNew (1, sizeof(ACommandState_t), &mbA_CommandState_attributes);

  /* creation of mbA_StatusSnapshot */
  mbA_StatusSnapshotHandle = osMessageQueueNew (1, sizeof(AStatusSnapshot_t), &mbA_StatusSnapshot_attributes);

  /* Create the thread(s) */
  /* creation of A_ControlTask */
  A_ControlTaskHandle = osThreadNew(StartAControlTask, NULL, &A_ControlTask_attributes);

  /* creation of A_ComRxTask */
  A_ComRxTaskHandle = osThreadNew(StartAComRxTask, NULL, &A_ComRxTask_attributes);

  /* creation of A_Cyclic100msTask */
  A_Cyclic100msTaskHandle = osThreadNew(StartACyclic100msTask, NULL, &A_Cyclic100msTask_attributes);

}

void StartAControlTask(void *argument)
{
  /* USER CODE BEGIN StartAControlTask */
  uint32_t half_second_count = 0U;
  uint32_t profile_deadline = 0U;
  uint8_t profile_active = 0U;
  uint8_t profile_index = 0U;
  const uint8_t profile_step_count =
      (uint8_t)(sizeof(g_h3_fan_pwm_profile) / sizeof(g_h3_fan_pwm_profile[0]));

  g_h2_can_start_result = H2_CanStart();
  if (g_h2_can_start_result == 0U)
  {
    g_h2_can_ready = 1U;
  }
  H2_LogBoot(g_h2_can_start_result);
  H3_LogFanPwmProfile();
  H3_LogTachCaptureProfile();
  osDelay(20U);
  H3_Ina260ScanAndIdentify();
  /* Leave I2C1 clean and idle for the later B1-triggered scope probe. */
  (void)HAL_I2C_Init(&hi2c1);

  if (g_h2_can_start_result != 0U)
  {
    for (;;)
    {
      HAL_GPIO_TogglePin(LD2_GPIO_Port, LD2_Pin);
      osDelay(100U);
    }
  }

  /* Infinite loop */
  for(;;)
  {
    uint32_t now = HAL_GetTick();

    if ((profile_active == 0U) && (g_h3_fan_profile_request != 0U))
    {
      g_h3_fan_profile_request = 0U;
      H3_Ina260ScopeProbe();
      profile_active = 1U;
      profile_index = 0U;
      H3_ApplyFanPwmStep(profile_index);
      profile_deadline = now + H3_FAN_PWM_PROFILE_HOLD_MS;
    }
    else if (profile_active != 0U)
    {
      /* Discard button bounce or extra presses while a profile is active. */
      g_h3_fan_profile_request = 0U;
      if ((int32_t)(now - profile_deadline) >= 0)
      {
        profile_index++;
        if (profile_index < profile_step_count)
        {
          H3_ApplyFanPwmStep(profile_index);
          profile_deadline = now + H3_FAN_PWM_PROFILE_HOLD_MS;
        }
        else
        {
          __HAL_TIM_SET_COMPARE(&htim3,
                                TIM_CHANNEL_2,
                                H3_FAN_PWM_COMPARE_50_PERCENT);
          profile_active = 0U;
          H3_LogFanPwmProfileDone();
        }
      }
    }

    HAL_GPIO_TogglePin(LD2_GPIO_Port, LD2_Pin);
    half_second_count++;
    if ((half_second_count % 2U) == 0U)
    {
      H2_LogStatus();
      H3_LogTachRaw();
      H3_LogIna260Sample();
    }
    osDelay(500U);
  }
  /* USER CODE END StartAControlTask */
}

void StartAComRxTask(void *argument)
{
  /* USER CODE BEGIN StartAComRxTask */
  AppCanRxFrame_t frame;
  uint8_t peer_counter;

  while (g_h2_can_ready == 0U)
  {
    osDelay(10U);
  }

  /* Infinite loop */
  for(;;)
  {
    if (osMessageQueueGet(qA_CanRxHandle, &frame, NULL, osWaitForever) == osOK)
    {
      if (H2_IsValidPeerFrame(&frame) != 0U)
      {
        peer_counter = H2_GetPeerCounter(&frame);
        if ((g_h2_rx_seen != 0U) &&
            ((uint8_t)((g_h2_last_rx_counter + 1U) & 0x0FU) != peer_counter))
        {
          g_h2_rx_sequence_errors++;
        }
        g_h2_last_rx_counter = peer_counter;
        g_h2_rx_seen = 1U;
        g_h2_rx_valid++;
      }
      else
      {
        g_h2_rx_invalid++;
      }
    }
  }
  /* USER CODE END StartAComRxTask */
}

void StartACyclic100msTask(void *argument)
{
  /* USER CODE BEGIN StartACyclic100msTask */
  uint8_t counter = 0U;

  while (g_h2_can_ready == 0U)
  {
    osDelay(10U);
  }
  osDelay(H2_CAN_STARTUP_DELAY_MS);

  /* Infinite loop */
  for(;;)
  {
    H2_SendFrame(counter);
    counter = (uint8_t)((counter + 1U) & 0x0FU);
    osDelay(H2_CAN_PERIOD_MS);
  }
  /* USER CODE END StartACyclic100msTask */
}
